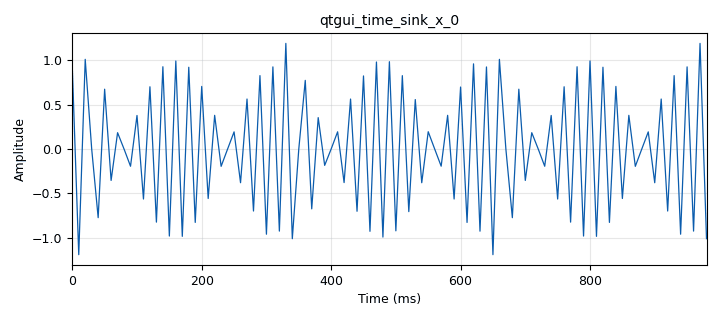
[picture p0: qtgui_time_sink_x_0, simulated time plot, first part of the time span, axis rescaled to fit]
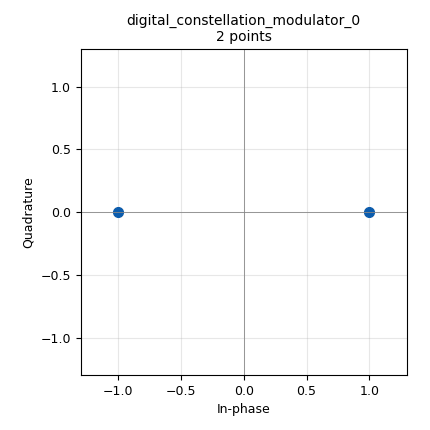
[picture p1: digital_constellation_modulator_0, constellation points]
options:
  parameters:
    author: aruncs
    generate_options: qt_gui
    id: untitled
    output_language: python
    title: Not titled yet
  states: {}

blocks:
- name: freq
  id: variable_qtgui_range
  parameters:
    start: '100'
    step: '1e-1'
    stop: 16e3
    value: 1e3
  states: {}
- name: samp_rate
  id: variable
  parameters:
    value: '32000'
  states: {}
- name: analog_sig_source_x_0
  id: analog_sig_source_x
  parameters:
    amp: '1'
    freq: 15e3
    offset: '0'
    phase: '0'
    samp_rate: samp_rate
    type: float
    waveform: analog.GR_COS_WAVE
  states: {}
- name: blocks_complex_to_real_0
  id: blocks_complex_to_real
  parameters: {}
  states: {}
- name: blocks_multiply_xx_0
  id: blocks_multiply_xx
  parameters:
    type: float
  states: {}
- name: blocks_vector_source_x_0
  id: blocks_vector_source_x
  parameters:
    repeat: 'True'
    type: byte
    vector: '[1,0]'
  states: {}
- name: digital_constellation_modulator_0
  id: digital_constellation_modulator
  parameters:
    constellation: digital.constellation_bpsk()
    differential: 'True'
    excess_bw: '0.35'
    samples_per_symbol: '2'
  states: {}
- name: import_0
  id: import
  parameters:
    imports: import numpy as np
  states: {}
- name: qtgui_time_sink_x_0
  id: qtgui_time_sink_x
  parameters:
    size: '1024'
    srate: '100'
    type: float
  states: {}

connections:
- [analog_sig_source_x_0, '0', blocks_multiply_xx_0, '0']
- [blocks_complex_to_real_0, '0', blocks_multiply_xx_0, '1']
- [blocks_multiply_xx_0, '0', qtgui_time_sink_x_0, '0']
- [blocks_vector_source_x_0, '0', digital_constellation_modulator_0, '0']
- [digital_constellation_modulator_0, '0', blocks_complex_to_real_0, '0']

metadata:
  file_format: 1
  grc_version: 3.10.11.0
